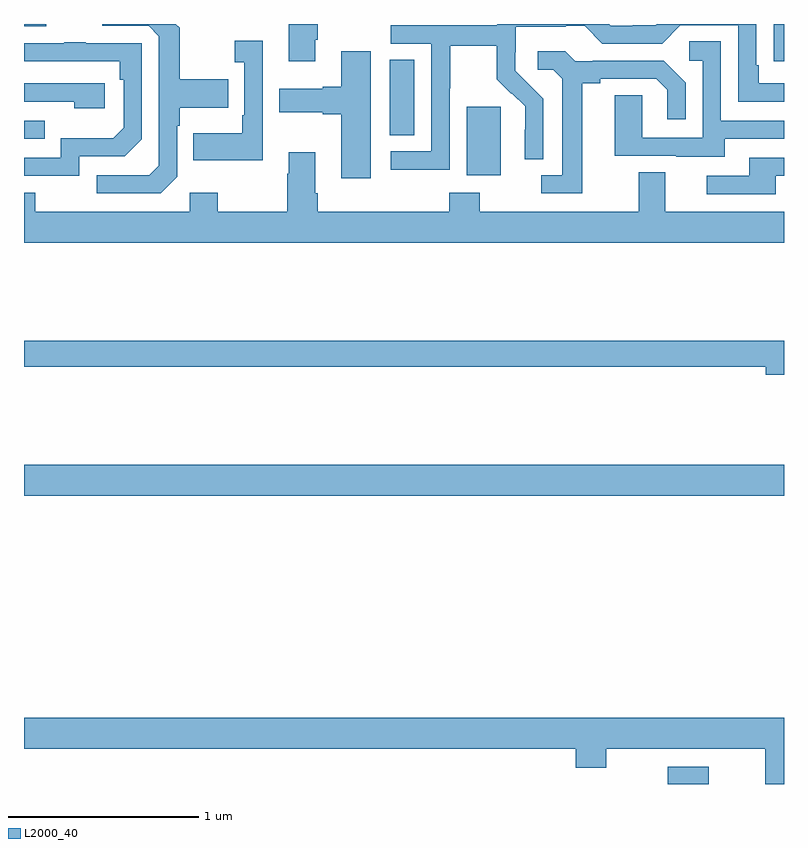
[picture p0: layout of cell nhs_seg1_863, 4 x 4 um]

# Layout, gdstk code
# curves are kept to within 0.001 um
import gdstk
lib = gdstk.Library(unit=1e-6, precision=1e-09)
def R(c, l, rs):  # rectangles x0, y0, x1, y1
    for r in rs: c.add(gdstk.rectangle(r[:2], r[2:], *l))
def P(c, l, *ps):  # polygons
    for p in ps: c.add(gdstk.Polygon(p, *l))
L2000_40 = (2000, 40)

nhs_seg1_863 = lib.new_cell('nhs_seg1_863')
R(nhs_seg1_863, L2000_40, [(160.389,566.199,160.603,566.289), (157,567.716,161,567.88), (159.329,569.402,159.508,569.763), (157,569.595,157.109,569.691), (158.924,569.614,159.055,570.011), (160.945,570.004,161,570.199), (157,570.186,157.117,570.199)])
P(nhs_seg1_863, L2000_40, [(157.806,569.394),(157.806,569.663),(157.819,569.663),(157.819,569.759),(158.075,569.759),(158.075,569.907),(157.819,569.907),(157.819,570.179),(157.799,570.199),(157.413,570.199),(157.413,570.189),(157.656,570.189),(157.71,570.135),(157.71,569.454),(157.659,569.403),(157.383,569.403),(157.383,569.307),(157.719,569.307)],
  [(159.24,569.86),(159.243,569.86),(159.243,570.084),(159.487,570.084),(159.487,569.909),(159.564,569.832),(159.567,569.835),(159.638,569.765),(159.638,569.642),(159.636,569.642),(159.636,569.488),(159.732,569.488),(159.732,569.806),(159.586,569.954),(159.586,570.051),(159.588,570.051),(159.588,570.185),(159.851,570.185),(159.851,570.189),(159.951,570.189),(160.044,570.096),(160.359,570.096),(160.455,570.192),(160.758,570.192),(160.758,569.79),(161,569.79),(161,569.886),(160.867,569.886),(160.867,569.983),(160.854,569.983),(160.854,570.199),(160.33,570.199),(160.323,570.192),(160.205,570.192),(160.205,570.189),(160.089,570.189),(160.079,570.199),(159.492,570.199),(159.492,570.192),(158.931,570.192),(158.931,570.096),(159.144,570.096),(159.144,569.529),(158.931,569.529),(158.931,569.431),(159.24,569.431)],
  [(158.533,570.115),(158.546,570.115),(158.546,570.199),(158.393,570.199),(158.393,570.003),(158.533,570.003)],
  [(158.256,570.112),(158.109,570.112),(158.109,569.999),(158.16,569.999),(158.16,569.719),(158.148,569.719),(158.148,569.623),(157.891,569.623),(157.891,569.483),(158.256,569.483)],
  [(160.687,569.595),(161,569.595),(161,569.691),(160.668,569.691),(160.668,570.107),(160.5,570.107),(160.5,570.006),(160.572,570.006),(160.572,569.601),(160.254,569.601),(160.254,569.825),(160.109,569.825),(160.109,569.505),(160.433,569.505),(160.433,569.501),(160.687,569.501)],
  [(157.29,569.502),(157.53,569.502),(157.62,569.592),(157.62,570.099),(157.325,570.099),(157.325,570.104),(157.213,570.104),(157.213,570.099),(157,570.099),(157,570.003),(157.504,570.003),(157.504,569.906),(157.524,569.906),(157.524,569.652),(157.471,569.599),(157.194,569.599),(157.194,569.496),(157,569.496),(157,569.4),(157.29,569.4)],
  [(158.824,570.055),(158.669,570.055),(158.669,569.87),(158.573,569.87),(158.573,569.857),(158.343,569.857),(158.343,569.735),(158.573,569.735),(158.573,569.723),(158.669,569.723),(158.669,569.388),(158.824,569.388)],
  [(159.937,569.888),(160.033,569.888),(160.033,569.91),(160.328,569.91),(160.385,569.853),(160.385,569.697),(160.482,569.697),(160.482,569.89),(160.366,570.006),(159.994,570.006),(159.994,570.003),(159.9,570.003),(159.848,570.055),(159.705,570.055),(159.705,569.958),(159.786,569.958),(159.833,569.911),(159.833,569.403),(159.723,569.403),(159.723,569.307),(159.937,569.307)],
  [(157.426,569.886),(157,569.886),(157,569.79),(157.265,569.79),(157.265,569.756),(157.426,569.756)],
  [(161,569.212),(160.375,569.212),(160.375,569.42),(160.235,569.42),(160.235,569.212),(159.399,569.212),(159.399,569.311),(159.239,569.311),(159.239,569.212),(158.546,569.212),(158.546,569.308),(158.533,569.308),(158.533,569.524),(158.393,569.524),(158.393,569.411),(158.386,569.411),(158.386,569.212),(158.019,569.212),(158.019,569.311),(157.872,569.311),(157.872,569.212),(157.059,569.212),(157.059,569.311),(157,569.311),(157,569.048),(161,569.048)],
  [(160.957,569.4),(161,569.4),(161,569.496),(160.817,569.496),(160.817,569.4),(160.593,569.4),(160.593,569.304),(160.957,569.304)],
  [(161,568.532),(157,568.532),(157,568.396),(160.904,568.396),(160.904,568.354),(161,568.354)],
  [(161,566.548),(157,566.548),(157,566.384),(159.905,566.384),(159.905,566.285),(160.065,566.285),(160.065,566.384),(160.901,566.384),(160.901,566.199),(161,566.199)])

lib.write_gds('nhs_seg1_863.gds')
